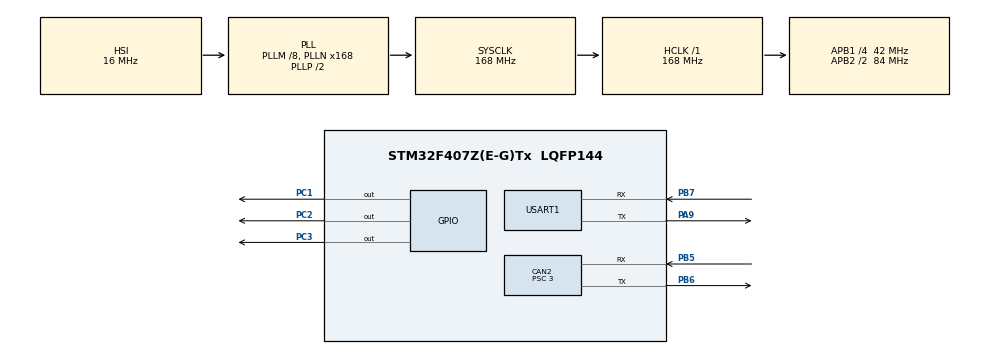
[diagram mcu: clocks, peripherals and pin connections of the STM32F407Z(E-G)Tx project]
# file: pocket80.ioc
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CAN2.BS1=CAN_BS1_10TQ
CAN2.BS2=CAN_BS2_3TQ
CAN2.CalculateBaudRate=1000000
CAN2.CalculateTimeBit=1000
CAN2.CalculateTimeQuantum=71.42857142857143
CAN2.Prescaler=3
Mcu.Family=STM32F4
Mcu.Name=STM32F407Z(E-G)Tx
Mcu.Package=LQFP144
NVIC.CAN2_TX_IRQn=true\:0\:0\:false\:false\:true\:true\:true\:true
NVIC.PriorityGroup=NVIC_PRIORITYGROUP_4
NVIC.TIM8_TRG_COM_TIM14_IRQn=true\:15\:0\:false\:false\:true\:false\:true\:true
NVIC.TimeBase=TIM8_TRG_COM_TIM14_IRQn
NVIC.TimeBaseIP=TIM14
NVIC.USART1_IRQn=true\:0\:0\:false\:false\:true\:true\:true\:true
PA13.Mode=Serial_Wire
PA13.Signal=SYS_JTMS-SWDIO
PA14.Mode=Serial_Wire
PA14.Signal=SYS_JTCK-SWCLK
PA9.Mode=Asynchronous
PA9.Signal=USART1_TX
PB5.Mode=CAN_Activate
PB5.Signal=CAN2_RX
PB6.Mode=CAN_Activate
PB6.Signal=CAN2_TX
PB7.Mode=Asynchronous
PB7.Signal=USART1_RX
PC1.Signal=GPIO_Output
PC2.Signal=GPIO_Output
PC3.Signal=GPIO_Output
PH0-OSC_IN.Mode=HSE-External-Oscillator
PH0-OSC_IN.Signal=RCC_OSC_IN
PH1-OSC_OUT.Mode=HSE-External-Oscillator
PH1-OSC_OUT.Signal=RCC_OSC_OUT
ProjectManager.HeapSize=0x200
ProjectManager.StackSize=0x400
ProjectManager.TargetToolchain=CMake
RCC.48MHZClocksFreq_Value=84000000
RCC.AHBFreq_Value=168000000
RCC.APB1CLKDivider=RCC_HCLK_DIV4
RCC.APB1Freq_Value=42000000
RCC.APB1TimFreq_Value=84000000
RCC.APB2CLKDivider=RCC_HCLK_DIV2
RCC.APB2Freq_Value=84000000
RCC.APB2TimFreq_Value=168000000
RCC.CortexFreq_Value=168000000
RCC.HCLKFreq_Value=168000000
RCC.HSE_VALUE=16000000
RCC.HSI_VALUE=16000000
RCC.LSE_VALUE=32768
RCC.PLLM=8
RCC.PLLN=168
RCC.SYSCLKFreq_VALUE=168000000
RCC.SYSCLKSource=RCC_SYSCLKSOURCE_PLLCLK
RCC.VCOOutputFreq_Value=336000000
USART1.VirtualMode=VM_ASYNC
VP_SYS_VS_tim14.Mode=TIM14
board=custom

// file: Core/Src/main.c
/* USER CODE BEGIN Header */
/**
  ******************************************************************************
  * @file           : main.c
  * @brief          : Main program body
  ******************************************************************************
  * @attention
  *
  * Copyright (c) 2025 STMicroelectronics.
  * All rights reserved.
  *
  * This software is licensed under terms that can be found in the LICENSE file
  * in the root directory of this software component.
  * If no LICENSE file comes with this software, it is provided AS-IS.
  *
  ******************************************************************************
  */
/* USER CODE END Header */
#include "main.h"
#include "can.h"
#include "usart.h"
#include "gpio.h"

/* USER CODE BEGIN Includes */
#include "can_bsp.h"
#include "AK80_8.h"
#include "searchDuck.h"
#include "searchDuck.h"
#include "uart_bsp.h"
/* USER CODE END Includes */

/* USER CODE BEGIN PV */
char uart_rx[1];
extern ak80_data_t ak80_pitch_data;
extern ak80_data_t ak80_yaw_data;

extern double yaw_err;
extern double pitch_err;
/* USER CODE END PV */

void SystemClock_Config(void);

int main(void)
{

  /* MCU Configuration--------------------------------------------------------*/

  /* Reset of all peripherals, Initializes the Flash interface and the Systick. */
  HAL_Init();

  /* Configure the system clock */
  SystemClock_Config();

  /* Initialize all configured peripherals */
  MX_GPIO_Init();
  MX_CAN2_Init();
  MX_USART1_UART_Init();
  /* USER CODE BEGIN 2 */
  can_filter_init();
  HAL_UART_Receive_IT(&huart1,uart_rx,sizeof(uart_rx));
  HAL_Delay(100);
  HAL_GPIO_WritePin(GPIOC,GPIO_PIN_3,GPIO_PIN_SET);
  // comm_can_set_pos_spd(ak80_pitch_data.id,0,0,0);
  search_duck_init(&ak80_pitch_data,0);
  search_duck_init(&ak80_yaw_data,104);
  // HAL_Delay(100);
  // comm_can_set_pos_spd(ak80_pitch_data.id,1000,3000,100);
  /* USER CODE END 2 */

  /* Infinite loop */
  /* USER CODE BEGIN WHILE */
  while (1)
  {
    search_duck(yaw_err,pitch_err);
    HAL_Delay(100);
    // comm_can_set_pos_spd(ak80_pitch_data.id,180,3000,200);
    // HAL_UART_Transmit_IT(&huart1,uart_rx,sizeof(uart_rx));
    /* USER CODE END WHILE */

  }
}

void SystemClock_Config(void)
{
  RCC_OscInitTypeDef RCC_OscInitStruct = {0};
  RCC_ClkInitTypeDef RCC_ClkInitStruct = {0};

  /** Configure the main internal regulator output voltage
  */
  __HAL_RCC_PWR_CLK_ENABLE();
  __HAL_PWR_VOLTAGESCALING_CONFIG(PWR_REGULATOR_VOLTAGE_SCALE1);

  /** Initializes the RCC Oscillators according to the specified parameters
  * in the RCC_OscInitTypeDef structure.
  */
  RCC_OscInitStruct.OscillatorType = RCC_OSCILLATORTYPE_HSI;
  RCC_OscInitStruct.HSIState = RCC_HSI_ON;
  RCC_OscInitStruct.HSICalibrationValue = RCC_HSICALIBRATION_DEFAULT;
  RCC_OscInitStruct.PLL.PLLState = RCC_PLL_ON;
  RCC_OscInitStruct.PLL.PLLSource = RCC_PLLSOURCE_HSI;
  RCC_OscInitStruct.PLL.PLLM = 8;
  RCC_OscInitStruct.PLL.PLLN = 168;
  RCC_OscInitStruct.PLL.PLLP = RCC_PLLP_DIV2;
  RCC_OscInitStruct.PLL.PLLQ = 4;
  if (HAL_RCC_OscConfig(&RCC_OscInitStruct) != HAL_OK)
  {
    Error_Handler();
  }

  /** Initializes the CPU, AHB and APB buses clocks
  */
  RCC_ClkInitStruct.ClockType = RCC_CLOCKTYPE_HCLK|RCC_CLOCKTYPE_SYSCLK
                              |RCC_CLOCKTYPE_PCLK1|RCC_CLOCKTYPE_PCLK2;
  RCC_ClkInitStruct.SYSCLKSource = RCC_SYSCLKSOURCE_PLLCLK;
  RCC_ClkInitStruct.AHBCLKDivider = RCC_SYSCLK_DIV1;
  RCC_ClkInitStruct.APB1CLKDivider = RCC_HCLK_DIV4;
  RCC_ClkInitStruct.APB2CLKDivider = RCC_HCLK_DIV2;

  if (HAL_RCC_ClockConfig(&RCC_ClkInitStruct, FLASH_LATENCY_5) != HAL_OK)
  {
    Error_Handler();
  }
}

void HAL_TIM_PeriodElapsedCallback(TIM_HandleTypeDef *htim)
{
  if (htim->Instance == TIM14) {
    HAL_IncTick();
  }
}

void Error_Handler(void)
{
  __disable_irq();
  while (1)
  {
  }
}
